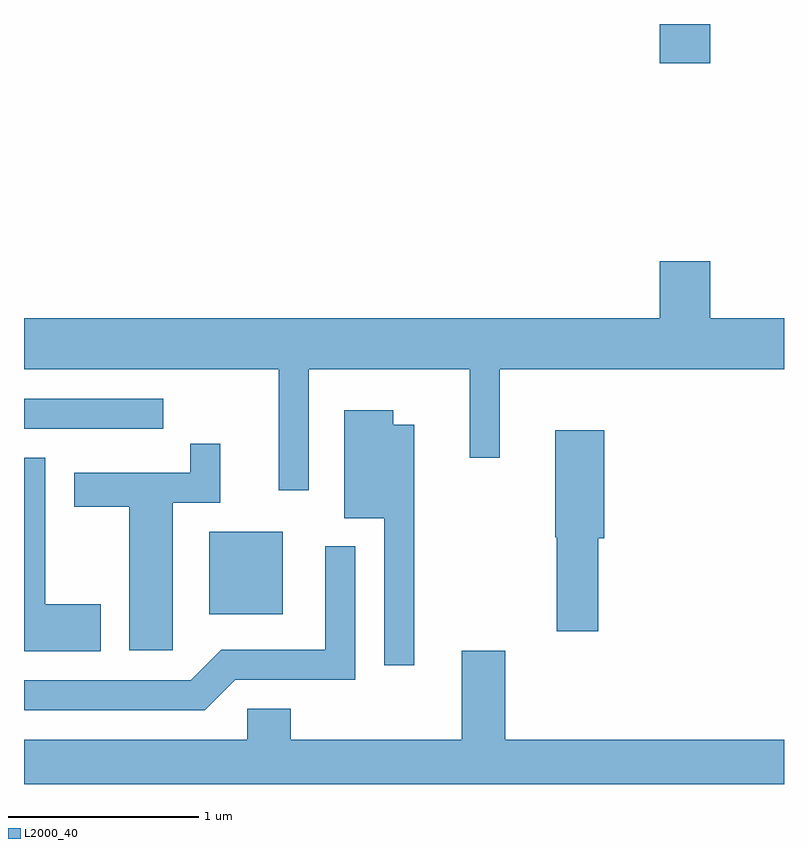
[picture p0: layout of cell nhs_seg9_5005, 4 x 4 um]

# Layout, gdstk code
import gdstk
lib = gdstk.Library(unit=1e-6, precision=1e-09)
def R(c, l, rs):  # rectangles x0, y0, x1, y1
    for r in rs: c.add(gdstk.rectangle(r[:2], r[2:], *l))
def P(c, l, *ps):  # polygons
    for p in ps: c.add(gdstk.Polygon(p, *l))
L2000_40 = (2000, 40)

nhs_seg9_5005 = lib.new_cell('nhs_seg9_5005')
R(nhs_seg9_5005, L2000_40, [(332.586,2079.326,332.974,2079.759), (331.611,2080.301,332.343,2080.459), (334.956,2082.226,335.224,2082.432)])
P(nhs_seg9_5005, L2000_40, [(333.109,2080.616),(333.956,2080.616),(333.956,2080.148),(334.114,2080.148),(334.114,2080.616),(335.611,2080.616),(335.611,2080.884),(335.224,2080.884),(335.224,2081.184),(334.956,2081.184),(334.956,2080.884),(331.611,2080.884),(331.611,2080.616),(332.951,2080.616),(332.951,2079.978),(333.109,2079.978)],
  [(333.664,2080.324),(333.554,2080.324),(333.554,2080.399),(333.296,2080.399),(333.296,2079.831),(333.506,2079.831),(333.506,2079.058),(333.664,2079.058)],
  [(334.634,2079.726),(334.664,2079.726),(334.664,2080.294),(334.406,2080.294),(334.406,2079.73),(334.416,2079.73),(334.416,2079.236),(334.634,2079.236)],
  [(332.394,2079.911),(332.644,2079.911),(332.644,2080.222),(332.486,2080.222),(332.486,2080.069),(331.876,2080.069),(331.876,2079.891),(332.166,2079.891),(332.166,2079.136),(332.394,2079.136)],
  [(332.014,2079.379),(331.724,2079.379),(331.724,2080.149),(331.611,2080.149),(331.611,2079.131),(332.014,2079.131)],
  [(332.722,2078.981),(333.354,2078.981),(333.354,2079.683),(333.196,2079.683),(333.196,2079.139),(332.649,2079.139),(332.489,2078.979),(331.611,2078.979),(331.611,2078.821),(332.562,2078.821)],
  [(335.611,2078.664),(334.144,2078.664),(334.144,2079.134),(333.916,2079.134),(333.916,2078.664),(333.014,2078.664),(333.014,2078.829),(332.786,2078.829),(332.786,2078.664),(331.611,2078.664),(331.611,2078.432),(335.611,2078.432)])

lib.write_gds('nhs_seg9_5005.gds')
